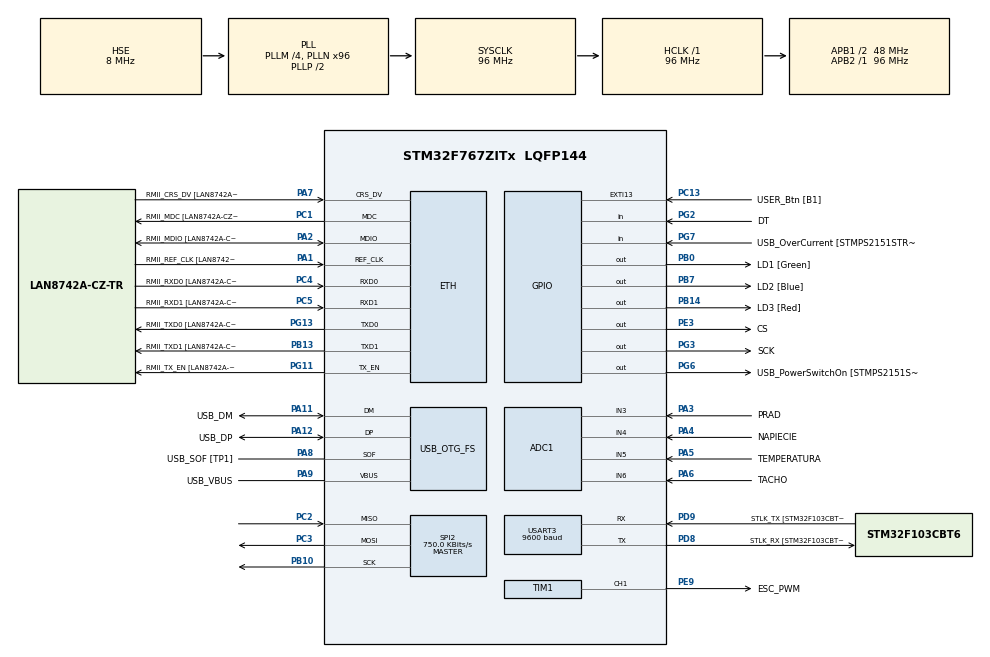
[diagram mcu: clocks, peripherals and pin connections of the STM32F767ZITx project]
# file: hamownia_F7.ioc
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ADC1.Channel-0\#ChannelRegularConversion=ADC_CHANNEL_3
ADC1.Channel-1\#ChannelRegularConversion=ADC_CHANNEL_4
ADC1.Channel-2\#ChannelRegularConversion=ADC_CHANNEL_5
ADC1.Channel-3\#ChannelRegularConversion=ADC_CHANNEL_6
ADC1.ContinuousConvMode=ENABLE
ADC1.DMAContinuousRequests=ENABLE
ADC1.NbrOfConversion=4
ADC1.NbrOfConversionFlag=1
ADC1.Rank-0\#ChannelRegularConversion=1
ADC1.Rank-1\#ChannelRegularConversion=2
ADC1.Rank-2\#ChannelRegularConversion=3
ADC1.Rank-3\#ChannelRegularConversion=4
ADC1.SamplingTime-0\#ChannelRegularConversion=ADC_SAMPLETIME_480CYCLES
ADC1.SamplingTime-1\#ChannelRegularConversion=ADC_SAMPLETIME_480CYCLES
ADC1.SamplingTime-2\#ChannelRegularConversion=ADC_SAMPLETIME_480CYCLES
ADC1.SamplingTime-3\#ChannelRegularConversion=ADC_SAMPLETIME_480CYCLES
ADC1.ScanConvMode=ADC_SCAN_ENABLE
ADC1.master=1
Dma.ADC1.0.Direction=DMA_PERIPH_TO_MEMORY
Dma.ADC1.0.FIFOMode=DMA_FIFOMODE_DISABLE
Dma.ADC1.0.Instance=DMA2_Stream0
Dma.ADC1.0.MemDataAlignment=DMA_MDATAALIGN_WORD
Dma.ADC1.0.MemInc=DMA_MINC_ENABLE
Dma.ADC1.0.Mode=DMA_CIRCULAR
Dma.ADC1.0.PeriphDataAlignment=DMA_PDATAALIGN_WORD
Dma.ADC1.0.PeriphInc=DMA_PINC_DISABLE
Dma.ADC1.0.Priority=DMA_PRIORITY_LOW
Dma.Request0=ADC1
ETH.MediaInterface=ETH_MEDIA_INTERFACE_RMII
ETH.PHY_Name=LAN8742A_PHY_ADDRESS
ETH.PHY_Value=0
ETH.PhyAddress=0
LWIP.GATEWAY_ADDRESS=192.168.008.050
LWIP.IP_ADDRESS=192.168.008.200
LWIP.LWIP_DHCP=0
LWIP.NETMASK_ADDRESS=255.255.255.000
LWIP.Version=v2.1.2_Cube
Mcu.Family=STM32F7
Mcu.Name=STM32F767ZITx
Mcu.Package=LQFP144
NVIC.DMA2_Stream0_IRQn=true\:0\:0\:false\:false\:true\:false\:true
NVIC.PriorityGroup=NVIC_PRIORITYGROUP_4
NVIC.TIM1_TRG_COM_TIM11_IRQn=true\:0\:0\:false\:false\:true\:true\:true
NVIC.TIM1_UP_TIM10_IRQn=true\:0\:0\:false\:false\:true\:true\:true
NVIC.TIM3_IRQn=true\:0\:0\:false\:false\:true\:true\:true
NVIC.TIM4_IRQn=true\:0\:0\:false\:false\:true\:true\:true
NVIC.TIM5_IRQn=true\:0\:0\:false\:false\:true\:true\:true
NVIC.TIM6_DAC_IRQn=true\:0\:0\:false\:false\:true\:true\:true
NVIC.TIM7_IRQn=true\:0\:0\:false\:false\:true\:true\:true
NVIC.TIM8_TRG_COM_TIM14_IRQn=true\:0\:0\:false\:false\:true\:true\:true
NVIC.TIM8_UP_TIM13_IRQn=true\:0\:0\:false\:false\:true\:true\:true
NVIC.USART3_IRQn=true\:0\:0\:false\:false\:true\:true\:true
PA1.GPIO_Label=RMII_REF_CLK [LAN8742A-CZ-TR_REFCLK0]
PA1.Mode=RMII
PA1.Signal=ETH_REF_CLK
PA10.GPIO_Label=USB_ID
PA10.Signal=USB_OTG_FS_ID
PA11.GPIO_Label=USB_DM
PA11.Mode=Device_Only
PA11.Signal=USB_OTG_FS_DM
PA12.GPIO_Label=USB_DP
PA12.Mode=Device_Only
PA12.Signal=USB_OTG_FS_DP
PA13.GPIO_Label=TMS
PA13.Mode=Serial_Wire
PA13.Signal=SYS_JTMS-SWDIO
PA14.GPIO_Label=TCK
PA14.Mode=Serial_Wire
PA14.Signal=SYS_JTCK-SWCLK
PA2.GPIO_Label=RMII_MDIO [LAN8742A-CZ-TR_MDIO]
PA2.Mode=RMII
PA2.Signal=ETH_MDIO
PA3.GPIO_Label=PRAD
PA3.Signal=ADCx_IN3
PA4.GPIO_Label=NAPIECIE
PA4.Signal=ADCx_IN4
PA5.GPIO_Label=TEMPERATURA
PA5.Signal=ADCx_IN5
PA6.GPIO_Label=TACHO
PA6.Signal=ADCx_IN6
PA7.GPIO_Label=RMII_CRS_DV [LAN8742A-CZ-TR_CRS_DV]
PA7.Mode=RMII
PA7.Signal=ETH_CRS_DV
PA8.GPIO_Label=USB_SOF [TP1]
PA8.Mode=Activate_SOF_FS
PA8.Signal=USB_OTG_FS_SOF
PA9.GPIO_Label=USB_VBUS
PA9.Mode=Activate_VBUS
PA9.Signal=USB_OTG_FS_VBUS
PB0.GPIO_Label=LD1 [Green]
PB0.Signal=GPIO_Output
PB10.Mode=Full_Duplex_Master
PB10.Signal=SPI2_SCK
PB13.GPIO_Label=RMII_TXD1 [LAN8742A-CZ-TR_TXD1]
PB13.Mode=RMII
PB13.Signal=ETH_TXD1
PB14.GPIO_Label=LD3 [Red]
PB14.Signal=GPIO_Output
PB3.GPIO_Label=SWO
PB3.Signal=SYS_JTDO-SWO
PB7.GPIO_Label=LD2 [Blue]
PB7.Signal=GPIO_Output
PC1.GPIO_Label=RMII_MDC [LAN8742A-CZ-TR_MDC]
PC1.Mode=RMII
PC1.Signal=ETH_MDC
PC13.GPIO_Label=USER_Btn [B1]
PC13.Signal=GPXTI13
PC14/OSC32_IN.Mode=LSE-External-Clock-Source
PC14/OSC32_IN.Signal=RCC_OSC32_IN
PC15/OSC32_OUT.Mode=LSE-External-Clock-Source
PC15/OSC32_OUT.Signal=RCC_OSC32_OUT
PC2.Mode=Full_Duplex_Master
PC2.Signal=SPI2_MISO
PC3.Mode=Full_Duplex_Master
PC3.Signal=SPI2_MOSI
PC4.GPIO_Label=RMII_RXD0 [LAN8742A-CZ-TR_RXD0]
PC4.Mode=RMII
PC4.Signal=ETH_RXD0
PC5.GPIO_Label=RMII_RXD1 [LAN8742A-CZ-TR_RXD1]
PC5.Mode=RMII
PC5.Signal=ETH_RXD1
PD8.GPIO_Label=STLK_RX [STM32F103CBT6_PA3]
PD8.Mode=Asynchronous
PD8.Signal=USART3_TX
PD9.GPIO_Label=STLK_TX [STM32F103CBT6_PA2]
PD9.Mode=Asynchronous
PD9.Signal=USART3_RX
PE3.GPIO_Label=CS
PE3.Signal=GPIO_Output
PE9.GPIO_Label=ESC_PWM
PE9.Signal=S_TIM1_CH1
PG11.GPIO_Label=RMII_TX_EN [LAN8742A-CZ-TR_TXEN]
PG11.Mode=RMII
PG11.Signal=ETH_TX_EN
PG13.GPIO_Label=RMII_TXD0 [LAN8742A-CZ-TR_TXD0]
PG13.Mode=RMII
PG13.Signal=ETH_TXD0
PG2.GPIO_Label=DT
PG2.Signal=GPIO_Input
PG3.GPIO_Label=SCK
PG3.PinState=GPIO_PIN_SET
PG3.Signal=GPIO_Output
PG6.GPIO_Label=USB_PowerSwitchOn [STMPS2151STR_EN]
PG6.Signal=GPIO_Output
PG7.GPIO_Label=USB_OverCurrent [STMPS2151STR_FAULT]
PG7.Signal=GPIO_Input
PH0/OSC_IN.GPIO_Label=MCO [STM32F103CBT6_PA8]
PH0/OSC_IN.Mode=HSE-External-Oscillator
PH0/OSC_IN.Signal=RCC_OSC_IN
PH1/OSC_OUT.Mode=HSE-External-Oscillator
PH1/OSC_OUT.Signal=RCC_OSC_OUT
ProjectManager.HeapSize=0x200
ProjectManager.StackSize=0x400
ProjectManager.TargetToolchain=STM32CubeIDE
RCC.48MHZClocksFreq_Value=24000000
RCC.AHBFreq_Value=96000000
RCC.APB1CLKDivider=RCC_HCLK_DIV2
RCC.APB1Freq_Value=48000000
RCC.APB1TimFreq_Value=96000000
RCC.APB2Freq_Value=96000000
RCC.APB2TimFreq_Value=96000000
RCC.CortexFreq_Value=96000000
RCC.HCLKFreq_Value=96000000
RCC.HSE_VALUE=8000000
RCC.HSI_VALUE=16000000
RCC.LSE_VALUE=32768
RCC.PLLM=4
RCC.PLLMUL=RCC_PLL_MUL9
RCC.PLLN=96
RCC.PLLQ=4
RCC.PRESCALERUSB=RCC_USBCLKSOURCE_PLL_DIV1_5
RCC.SYSCLKFreq_VALUE=96000000
RCC.SYSCLKSource=RCC_SYSCLKSOURCE_PLLCLK
RCC.SYSCLKSourceVirtual=RCC_SYSCLKSOURCE_PLLCLK
RCC.USBFreq_Value=48000000
RCC.VCOOutputFreq_Value=192000000
SH.ADCx_IN3.0=ADC1_IN3,IN3
SH.ADCx_IN4.0=ADC1_IN4,IN4
SH.ADCx_IN5.0=ADC1_IN5,IN5
SH.ADCx_IN6.0=ADC1_IN6,IN6
SH.S_TIM1_CH1.0=TIM1_CH1,PWM Generation1 CH1
SPI2.BaudRatePrescaler=SPI_BAUDRATEPRESCALER_64
SPI2.CLKPhase=SPI_PHASE_2EDGE
SPI2.CLKPolarity=SPI_POLARITY_HIGH
SPI2.CalculateBaudRate=750.0 KBits/s
SPI2.DataSize=SPI_DATASIZE_8BIT
SPI2.Direction=SPI_DIRECTION_2LINES
SPI2.Mode=SPI_MODE_MASTER
SPI2.VirtualType=VM_MASTER
TIM1.AutoReloadPreload=TIM_AUTORELOAD_PRELOAD_ENABLE
TIM1.Channel-PWM\ Generation1\ CH1=TIM_CHANNEL_1
TIM1.Period=9999
TIM1.Prescaler=191
TIM13.AutoReloadPreload=TIM_AUTORELOAD_PRELOAD_ENABLE
TIM13.Period=99
TIM13.Prescaler=159
TIM14.AutoReloadPreload=TIM_AUTORELOAD_PRELOAD_ENABLE
TIM14.Period=99
TIM14.Prescaler=239
TIM3.AutoReloadPreload=TIM_AUTORELOAD_PRELOAD_ENABLE
TIM3.Channel-Output\ Compare1\ No\ Output=TIM_CHANNEL_1
TIM3.Period=999
TIM3.Prescaler=9599
TIM4.AutoReloadPreload=TIM_AUTORELOAD_PRELOAD_ENABLE
TIM4.Channel-Output\ Compare1\ No\ Output=TIM_CHANNEL_1
TIM4.Period=199
TIM4.Prescaler=47
TIM5.AutoReloadPreload=TIM_AUTORELOAD_PRELOAD_ENABLE
TIM5.Period=99
TIM5.Prescaler=79
TIM6.AutoReloadPreload=TIM_AUTORELOAD_PRELOAD_ENABLE
TIM6.Period=99
TIM6.Prescaler=119
TIM7.AutoReloadPreload=TIM_AUTORELOAD_PRELOAD_DISABLE
TIM7.Period=0xffff-1
TIM7.Prescaler=95
USART3.BaudRate=9600
USART3.VirtualMode-Asynchronous=VM_ASYNC
USB_OTG_FS.VirtualMode=Device_Only
VP_LWIP_VS_Enabled.Mode=Enabled
VP_TIM13_VS_ClockSourceINT.Mode=Enable_Timer
VP_TIM14_VS_ClockSourceINT.Mode=Enable_Timer
VP_TIM3_VS_no_output1.Mode=Output Compare1 No Output
VP_TIM4_VS_no_output1.Mode=Output Compare1 No Output
VP_TIM5_VS_ClockSourceINT.Mode=Internal
VP_TIM6_VS_ClockSourceINT.Mode=Enable_Timer
VP_TIM7_VS_ClockSourceINT.Mode=Enable_Timer
board=NUCLEO-F767ZI

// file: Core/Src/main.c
/* USER CODE BEGIN Header */
/**
  ******************************************************************************
  * @file           : main.c
  * @brief          : Main program body
  ******************************************************************************
  * @attention
  *
  * <h2><center>&copy; Copyright (c) 2020 STMicroelectronics.
  * All rights reserved.</center></h2>
  *
  * This software component is licensed by ST under BSD 3-Clause license,
  * the "License"; You may not use this file except in compliance with the
  * License. You may obtain a copy of the License at:
  *                        opensource.org/licenses/BSD-3-Clause
  *
  ******************************************************************************
  */
/* USER CODE END Header */

#include "main.h"
#include "adc.h"
#include "dma.h"
#include "lwip.h"
#include "spi.h"
#include "tim.h"
#include "usart.h"
#include "usb_otg.h"
#include "gpio.h"

/* USER CODE BEGIN Includes */
#include "hx711.h"
#include <stdio.h>
#include <string.h>
#include "arm_math.h"
#include "stm32_udp_server.h"
#define belka 100 // czas pomiaru dla belki
#define startup 1500 // czas rozruchu

/* USER CODE END Includes */

/* USER CODE BEGIN PTD */
HX711 tensometr; // wskaźnik do hx711
arm_rfft_instance_f32 S;
arm_cfft_radix4_instance_f32 S_CFFT;
/* USER CODE END PTD */

/* USER CODE BEGIN PV */

float32_t bufor_wejsciowy_pradu[2048];
float32_t bufor_wyjsciowy_pradu[4096];
float32_t bufor_wyjsciowy_pradu_mag[2048];
float32_t buffer_output_mag_copy[1024];

float32_t maxvalue;
uint32_t  maxvalueindex;

float32_t bufor_wejsciowy_osx[2048];
float32_t bufor_wyjsciowy_osx[4096];
float32_t bufor_wyjsciowy_osx_mag[2048];
float32_t buffer_output_mag_copy1[1024];

float32_t maxvalue1;
uint32_t  maxvalueindex1;

float32_t bufor_wejsciowy_osy[2048];
float32_t bufor_wyjsciowy_osy[4096];
float32_t bufor_wyjsciowy_osy_mag[2048];
float32_t buffer_output_mag_copy2[1024];

float32_t maxvalue2;
uint32_t  maxvalueindex2;

float32_t bufor_wejsciowy_osz[2048];
float32_t bufor_wyjsciowy_osz[4096];
float32_t bufor_wyjsciowy_osz_mag[2048];
float32_t buffer_output_mag_copy3[1024];

float32_t maxvalue3;
uint32_t  maxvalueindex3;

float32_t bufor_wejsciowy_napiecia[2048];
float32_t bufor_wyjsciowy_napiecia[4096];
float32_t bufor_wyjsciowy_napiecia_mag[2048];
float32_t buffer_output_mag_copy4[1024];

float32_t maxvalue4;
uint32_t  maxvalueindex4;

float32_t bufor_pradu[512];
float32_t bufor_napiecia[512];
float32_t bufor_temp[512];
float32_t bufor_ax[512];
float32_t bufor_ay[512];
float32_t bufor_az[512];
uint32_t bufor_rpm[512];
uint32_t bufor_ciag[512];
uint16_t bufor_czasu[512];

float32_t bufor_pradu1[512];
float32_t bufor_napiecia1[512];
float32_t bufor_temp1[512];
float32_t bufor_ax1[512];
float32_t bufor_ay1[512];
float32_t bufor_az1[512];
uint32_t bufor_rpm1[512];
uint32_t bufor_ciag1[512];
uint16_t bufor_czasu1[512];

int j = 0,k=0;
float napiecie =0, temp = 0, prad = 0, suma_napiec=0, napiecie_przed = 0, napiecie_fft = 0, suma_temp = 0, temp_przed = 0, temp_chw =0, suma_pradow = 0, prad_przed = 0, prad_fft = 0;
float Ax, Ay, Az;
float pojedynczy_fft_osx, pojedynczy_fft_osy, pojedynczy_fft_osz, pojedynczy_fft_prad, pojedynczy_fft_napiecie, prad1, napiecie1, prad2, napiecie2;
float ax1,ay1,az1,temp1;
float ax2,ay2,az2,temp2;
uint32_t rpm1,ciag1;
uint32_t rpm2,ciag2;
int16_t x,y,z,czas1,czas2;
uint8_t dane_odebrane[6];
uint32_t status=0,status2, rpm = 0, licznik=0, pomiary_napiecia =0, pomiary_temp = 0, pomiary_pradu = 0;
uint32_t czas=0, odczyt_belki=0, ciag=0, tara=0;
uint32_t pwm = 550,nastawa;
uint8_t inicjalizacja = 0, wyslij = 0,wyslij_dane=0;
uint32_t start,dane;
uint8_t komunikat[80],test_pol[3]="OK ",koniec[4]="END ", wiadomosc[100], wiadomosc2[100];
uint32_t poprzedni_czas_belka;
uint32_t poprzedni_czas_startup;
uint32_t tachometr_czas;
uint32_t wysylanie_czas;
uint32_t analogowe[4]; // tablica dla odczytu z czujnika temperatury i napięcia

uint8_t procent,rampa,start_sampli = 0;
uint16_t t=1,czas_testu;
uint32_t czas_probki=8;
uint8_t nr_trybu,gotowosc,wykonywanie_fft=1,timer_probkowania,zmiana_bufora,timer=1;
uint16_t ilosc_probek,ilosc_danych,licznik_samplowania,counter=0,zerowanie_timera;

uint8_t   buffer[UDP_RECEIVE_MSG_SIZE]={0};
UDP_RECEIVE_t  rx_check = UDP_REVEICE_BUF_EMPTY;
uint32_t    aliveNotify = 0;

/* USER CODE END PV */

void SystemClock_Config(void);

/* USER CODE BEGIN 0 */
void adxl_zapisz (uint8_t adres, uint8_t wartosc)
{
	uint8_t data[2];
	data[0] = adres|0x40;  // zapis wielobajtowy
	data[1] = wartosc;
	HAL_GPIO_WritePin (CS_GPIO_Port, CS_Pin, GPIO_PIN_RESET);  // ustawienie pinu CS w stan niski
	HAL_SPI_Transmit (&hspi2, data, 2, 100);  // zapisanie danych do rejestru
	HAL_GPIO_WritePin (CS_GPIO_Port, CS_Pin, GPIO_PIN_SET);  // ustawienie pinu CS w stan wysoki
}
void adxl_odczyt (uint8_t adres)
{
	adres |= 0x80;  // operacja odczytu
	adres |= 0x40;  // odczyt wielobajtowy
	uint8_t rec;
	HAL_GPIO_WritePin (CS_GPIO_Port, CS_Pin, GPIO_PIN_RESET);  // ustawienie pinu CS w stan niski
	HAL_SPI_Transmit (&hspi2, &adres, 1, 100);  // wysylanie na adres
	HAL_SPI_Receive (&hspi2, dane_odebrane, 6, 100);  // otrzymanie 6-ciu bajtow danych
	HAL_GPIO_WritePin (CS_GPIO_Port, CS_Pin, GPIO_PIN_SET);  // ustawienie pinu CS w stan wysoki
}
void adxl_inicjalizacja (void)
{
	adxl_zapisz (0x31, 0x0B);  // zakres pomiarowy = +- 16g na pelnej rodzielczosci 10 bit
	adxl_zapisz (0x2c, 0x0F);  // usawienie czestotliwosci wysylania danych na poziomie 3200Hz
	adxl_zapisz (0x2d, 0x00);  // resetowanie rejestru
	adxl_zapisz (0x2d, 0x08);  // odczyt z czestotliwoscia 8Hz w trybie sleep
}
void adxl_odczyt_wartosci()
{
	adxl_odczyt (0x32);
	x = ((dane_odebrane[1]<<8)|dane_odebrane[0]);
	y = ((dane_odebrane[3]<<8)|dane_odebrane[2]);
	z = ((dane_odebrane[5]<<8)|dane_odebrane[4]);

}
void przeliczanie_akcelerometru()
{
	Ax = x*0.0039;
	Ay = y*0.0039;
	Az = z*0.0039;
}

void inicjalizacja_belki()
{
	odczyt_belki = HX711_odczyt(&tensometr); // odczyt z przetwornika HX711
	tara = odczyt_belki;
	odczyt_belki =0;
}
void odczyt_ciagu()
{
	odczyt_belki = HX711_odczyt(&tensometr);  // odczyt z przetwornika HX711
	ciag = (odczyt_belki-tara)/1000; // przeliczenie na gramy
	if(ciag>900)
	{
		ciag=0;
	}
}

void inicjalizacja_silnika() // funkcja inicjalizacji silnika
{
	  if(HAL_GetTick() - poprzedni_czas_startup > startup) //sprawdzenie czy upłynał już czas startup = 1500ms
	  {
	      poprzedni_czas_startup = HAL_GetTick();   // pobranie aktualnego czasu
	      __HAL_TIM_SET_COMPARE(&htim1, TIM_CHANNEL_1,500); //ustawienie timera 17 na wypelnienie 5% (min) dzieki czemu regulator esc zostaje zainicjalizowany
	  }
}
void test_silnika_fft()
{

	if(gotowosc==0)
	{
	czas_zadany();
	predkosc_zadana();
	rampa_zadana();
	rozmiar_fft();
	czestotliwosc_probkowania();

	arm_rfft_init_f32(&S, &S_CFFT, ilosc_probek, 0, 1);

	dezaktywacja_timerow();

	gotowosc=1;
	timer_probkowania=1;
	}

	   __HAL_TIM_SET_COMPARE(&htim1, TIM_CHANNEL_1,pwm); // załączenie pwm o zmiennym wypelnieniu inkrementowanym w obsłudze przerwania od timera 1

    if(HAL_GetTick() - poprzedni_czas_belka > belka)  // sprawdzenie czy upłynął już czas belka = 100ms
    {
	    poprzedni_czas_belka = HAL_GetTick();  // pobranie aktualnego czasu

	    odczyt_ciagu();

		if(czas==czas_testu)  // sprawdzenie czy czas testu minął
		{

			start=0;  // ustawienie końcowe zmiennych
			czas=0;
			gotowosc=0;
			timer_probkowania=0;
			timer=1;
			serverUDPSendString(koniec);

		}

  }

}
void test_silnika() // funkcja automatycznego testu silnika
{
	czas_zadany();
	predkosc_zadana();
	rampa_zadana();
	licznik_samplowania = 4;
	if(timer==1)
	{
		if(licznik_samplowania==4)
		{
			HAL_TIM_Base_Start(&htim14);
			HAL_TIM_Base_Start_IT(&htim14);
			HAL_TIM_Base_Stop(&htim5);
			HAL_TIM_Base_Stop_IT(&htim5);
			HAL_TIM_Base_Stop(&htim6);
			HAL_TIM_Base_Stop_IT(&htim6);
			HAL_TIM_Base_Stop(&htim13);
			HAL_TIM_Base_Stop_IT(&htim13);
		}
		timer=0;
	}
	timer_probkowania=1;

	   __HAL_TIM_SET_COMPARE(&htim1, TIM_CHANNEL_1,pwm); // załączenie pwm o zmiennym wypelnieniu inkrementowanym w obsłudze przerwania od timera 1

       if(HAL_GetTick() - poprzedni_czas_belka > belka)  // sprawdzenie czy upłynął już czas belka = 100ms
       {
	    poprzedni_czas_belka = HAL_GetTick();  // pobranie aktualnego czasu

	    odczyt_ciagu();

		if(czas==czas_testu)  // sprawdzenie czy czas testu minął
		{

			start=0;  // ustawienie końcowe zmiennych
			czas=0;
			timer_probkowania=0;
			timer=1;
			serverUDPSendString(koniec);

		}

     }

}

void tryb_reczny() // funkcja ręcznego załączania silnika
{

	      predkosc_zadana();
	      licznik_samplowania = 4;
	  	if(timer==1)
	  	{
	  		if(licznik_samplowania==4)
	  		{
				HAL_TIM_Base_Start(&htim14);
				HAL_TIM_Base_Start_IT(&htim14);
				HAL_TIM_Base_Stop(&htim5);
				HAL_TIM_Base_Stop_IT(&htim5);
				HAL_TIM_Base_Stop(&htim6);
				HAL_TIM_Base_Stop_IT(&htim6);
				HAL_TIM_Base_Stop(&htim13);
				HAL_TIM_Base_Stop_IT(&htim13);
	  		}
	  		timer=0;
	  	}
	      timer_probkowania=1;

		__HAL_TIM_SET_COMPARE(&htim1, TIM_CHANNEL_1,nastawa); // ustawienie timera na odpowiednie wypełnienie pwm

	       if(HAL_GetTick() - poprzedni_czas_belka > belka) // sprawdzenie czy upłynął już czas belka = 100ms
	       {
		    poprzedni_czas_belka = HAL_GetTick();     // pobranie aktualnego czasu

		    HAL_GPIO_TogglePin(GPIOB, LD2_Pin); // zmiana stanu diody led na płytce

			odczyt_ciagu();

	       }

}

void akwizycja_danych()
{
	czas_zadany();
	predkosc_zadana();
	rampa_zadana();
	czestotliwosc_probkowania();

	dezaktywacja_timerow();

	timer_probkowania=1;

	   __HAL_TIM_SET_COMPARE(&htim1, TIM_CHANNEL_1,pwm); // załączenie pwm o zmiennym wypelnieniu inkrementowanym w obsłudze przerwania od timera 1

       if(HAL_GetTick() - poprzedni_czas_belka > belka)  // sprawdzenie czy upłynął już czas belka = 100ms
       {
	    poprzedni_czas_belka = HAL_GetTick();  // pobranie aktualnego czasu

	    odczyt_ciagu();

		if(czas==czas_testu)  // sprawdzenie czy czas testu minął
		{

			start=0;  // ustawienie końcowe zmiennych
			czas=0;
			timer_probkowania=0;
			licznik_samplowania=0;
			timer=1;
			serverUDPSendString(koniec);

		}

     }
}

void odczyt_wartosci_anlg()  // funkcja odczytu wartosci analogowych z tablicy i ustawienie stanu (wykrywanie znacznika na rotorze)
{
	  if(analogowe[3]<1500)
	  {
	  status=1;
	  }
	  if(analogowe[3]>1500)
	  {
	  status=0;
	  }
	  if(status2!=status) // zabezpieczenie przed nagłą zmiana oświetlenia w otoczeniu i zmiana stanu
	  {
		  licznik++;
		  status2=status;
	  }
}
void pomiar_napiecia()  // funkcja pomiaru napiecia zasilania z dzielnika napięcia
{
	napiecie_przed = analogowe[1]*3.3f / 4096.0f; // przeliczanie wartosci analogowej
	napiecie_przed = napiecie_przed*1000;  // zamiana na mV
	napiecie_przed = napiecie_przed/165; // skalowanie napięcia wg. współczynnika wyliczonego z dzielnika napięcia
	napiecie_fft = napiecie_przed;
	suma_napiec += napiecie_przed; // sumowanie odczytów
	pomiary_napiecia++; // inkrementacja licznika ilości odczytów

	if(pomiary_napiecia == 200)
	{
		napiecie = suma_napiec/200; // wyliczanie śreniej z 200 pomiarów
		pomiary_napiecia = 0;  // końcowe ustawienie zmiennych
		suma_napiec = 0;

	}
}
void pomiar_temperatury()  // pomiar temperatury z analogowego czujnika LM35
{
	temp_przed = analogowe[2]*3.3f / 4096.0f; //przeliczanie wartości analogowej
	temp_przed = temp_przed*1000; // zamiana na mV
	temp_przed = temp_przed/10; // zamiana na stopnie Celsjusza wynikająca z noty katalogowej (1 st. C = 10mV)
	temp_chw = temp_przed;
	suma_temp += temp_przed; // sumowanie odczytów
	pomiary_temp++; // inkrementacja licznika ilości odczytów

	if(pomiary_temp == 200)
	{
		temp = suma_temp/200; // wyliczanie średniej z 200 pomiarów
		pomiary_temp = 0; // końcowe ustawienie zmiennych
		suma_temp = 0;
	}
}

void pomiar_pradu()
{
	prad_przed = analogowe[0]*3.3f / 4096.0f; //przeliczanie wartości analogowej
	prad_przed = prad_przed*1000; // zamiana na mV
	prad_przed = (73.3f*(prad_przed/3300))-36.7f; // zamiana na A wg. wzoru producenta
	prad_fft = prad_przed;
	suma_pradow += prad_przed; // sumowanie odczytów
	pomiary_pradu++; // inkrementacja licznika ilości odczytów

	if(pomiary_pradu == 200)
	{
		prad = suma_pradow/200; // wyliczanie średniej z 200 pomiarów
		pomiary_pradu = 0; // końcowe ustawienie zmiennych
		suma_pradow = 0;
	}
}
void tachometr() // funkcja pomiaru prędkości obrotowej
{
    if(HAL_GetTick()-tachometr_czas >= 500) // odmierzenie czasu 500ms poniewaz co tyle jest mierzona prędkośc
    {

    	rpm =((licznik)/((HAL_GetTick()-tachometr_czas)/500))*60; // obliczenie ilości obrotów na podtawie impulsów zliczonych w interwałach 500ms

    	licznik = 0; // zerowanie liocznika
	    tachometr_czas = HAL_GetTick(); // pobranie aktualnego czasu
    }
}
void odbior_danych()
{
  	rx_check = serverUDPWorks(buffer);

      if(rx_check == UDP_RECEIVE_BUF_READY)
      {
          if(buffer[0] == '0')
          {
          	start=0;
          }

          if(buffer[0] == '1')
          {
            start=1;

          }
          if(buffer[0] == '2')
          {
          	start=2;
          }

          if(buffer[0] == '3')
          {

        	start=3;

          }
          if(buffer[0] == '4')
          {
            start=4;

          }
          if(buffer[0] == '5')
          {
        	  start=5;

          }
          if(buffer[0] == '6')
          {
        	  dane=6;
          }

      }
}
void transmisja_danych() // funkcja wysyłania danych za pomocą UART
{

	czas_probki=__HAL_TIM_GET_COUNTER(&htim7);
	czas_probki=czas_probki+65535;
    sprintf(komunikat, "%0.2f %0.2f %d %0.2f %d %d       ", prad,napiecie,rpm,temp,ciag,czas_probki);
	serverUDPSendString(komunikat);
	__HAL_TIM_SET_COUNTER (&htim7,0);

}

void test_polaczenia()
{
	serverUDPSendString(test_pol);
	start=0;
}
void stop()
{
		__HAL_TIM_SET_COMPARE(&htim1, TIM_CHANNEL_1,500); // wyłączenie silnika
		start=0;
		czas=0;
		timer_probkowania=0;
		timer=1;
		pwm=550;
}
void predkosc_zadana()
{
	int a,b;
	a=buffer[2]; //odczytanie zmiennej z bufora
	b=buffer[3]; //odczytanie zmiennej z bufora
	a=a-48; //zmiana z ascii na char
	b=b-48; //zmiana z ascii na char
	procent = (a*10)+b; //zamiana na wartosc procentowa
	nastawa = (procent * 5)+500; // przeskalowanie zmiennej dla wypelnienia pwm
}

void czas_zadany()
{
	int c,d;
	c=buffer[5]; //odczytanie zmiennej z bufora
	d=buffer[6]; //odczytanie zmiennej z bufora
	c=c-48; //zmiana z ascii na char
	d=d-48; //zmiana z ascii na char
	czas_testu = ((c*10)+d)*10; //obliczenie czasu testu w s
}

void rampa_zadana()
{
	int e,f;
	e=buffer[8]; //odczytanie zmiennej z bufora
	f=buffer[9]; //odczytanie zmiennej z bufora
	e=e-48; //zmiana z ascii na char
	f=f-48; //zmiana z ascii na char
	rampa = (e*10)+f; //obliczanie rampy (stopnia inkrementu o ktory ma byc zwiekszane wypelnienie pwm)
}

void rozmiar_fft()
{
	int g;
	g=buffer[13];
	g=g-48;
	if(g==1)
	{
		ilosc_probek = 512;
		ilosc_danych = 256;

	}
	if(g==2)
	{
		ilosc_probek = 2048;
		ilosc_danych = 1024;

	}

}

void czestotliwosc_probkowania()
{
	int h;
	h=buffer[11];
	h=h-48;
	if(h==1)
	{
		licznik_samplowania = 4;
	}
	if(h==2)
	{
		licznik_samplowania = 6;
	}
	if(h==3)
	{
		licznik_samplowania = 8;
	}
	if(h==4)
	{
		licznik_samplowania = 12;
	}

}

void odmierzanie_czasu_testu()
{
	if(start==1||start==4||start==5)
	{

      if(czas<czas_testu) // sprawdzenie czy czas testu minął
       {
       czas++; // inkrementacja czasu
       }
	}
}

void dezaktywacja_timerow()
{
	if(timer==1)
	{
		if(licznik_samplowania==4)
		{
			HAL_TIM_Base_Start(&htim14);
			HAL_TIM_Base_Start_IT(&htim14);
			HAL_TIM_Base_Stop(&htim5);
			HAL_TIM_Base_Stop_IT(&htim5);
			HAL_TIM_Base_Stop(&htim6);
			HAL_TIM_Base_Stop_IT(&htim6);
			HAL_TIM_Base_Stop(&htim13);
			HAL_TIM_Base_Stop_IT(&htim13);

		}

		if(licznik_samplowania==6)
		{
			HAL_TIM_Base_Start(&htim13);
			HAL_TIM_Base_Start_IT(&htim13);
			HAL_TIM_Base_Stop(&htim5);
			HAL_TIM_Base_Stop_IT(&htim5);
			HAL_TIM_Base_Stop(&htim6);
			HAL_TIM_Base_Stop_IT(&htim6);
			HAL_TIM_Base_Stop(&htim14);
			HAL_TIM_Base_Stop_IT(&htim14);

		}

		if(licznik_samplowania==8)
		{

			HAL_TIM_Base_Start(&htim6);
			HAL_TIM_Base_Start_IT(&htim6);
			HAL_TIM_Base_Stop(&htim5);
			HAL_TIM_Base_Stop_IT(&htim5);
			HAL_TIM_Base_Stop(&htim13);
			HAL_TIM_Base_Stop_IT(&htim13);
			HAL_TIM_Base_Stop(&htim14);
			HAL_TIM_Base_Stop_IT(&htim14);

		}

		if(licznik_samplowania==12)
		{
			HAL_TIM_Base_Start(&htim5);
			HAL_TIM_Base_Start_IT(&htim5);
			HAL_TIM_Base_Stop(&htim6);
			HAL_TIM_Base_Stop_IT(&htim6);
			HAL_TIM_Base_Stop(&htim13);
			HAL_TIM_Base_Stop_IT(&htim13);
			HAL_TIM_Base_Stop(&htim14);
			HAL_TIM_Base_Stop_IT(&htim14);

		}

		timer=0;
	}
}
void probkowanie()
{

	odbior_danych();
	pomiar_pradu();
	pomiar_napiecia();
	przeliczanie_akcelerometru();
	tachometr(); // pomiar predkosci obrotowej
	odczyt_wartosci_anlg(); //odczytywanie wartosci analogowej z czujnika prędkości i zamiana na stan niski lub wysoki
	pomiar_temperatury();// pomiar temperatury silnika

	if(start==5)
	{

	if(j<512)
	{
		if(zmiana_bufora==0)
		{

		bufor_pradu[j]=prad_fft;
		bufor_napiecia[j]=napiecie_fft;
		bufor_ax[j]=Ax;
		bufor_ay[j]=Ay;
		bufor_az[j]=Az;
		bufor_rpm[j]=rpm;
		bufor_ciag[j]=ciag;
		bufor_temp[j]=temp;

		czas_probki=__HAL_TIM_GET_COUNTER(&htim7);
		bufor_czasu[j]=czas_probki;
		__HAL_TIM_SET_COUNTER (&htim7,0);
		j++;
		}

	}

	if(j==512)
	{

		if(zmiana_bufora==0)
		{
			wyslij_dane = 1;

			zmiana_bufora=1;
		}

		j=0;

	}
	if(k<512)
	{

	if(zmiana_bufora==1)
	{

	bufor_pradu1[k]=prad_fft;
	bufor_napiecia1[k]=napiecie_fft;
	bufor_ax1[k]=Ax;
	bufor_ay1[k]=Ay;
	bufor_az1[k]=Az;
	bufor_rpm1[k]=rpm;
	bufor_ciag1[k]=ciag;
	bufor_temp1[k]=temp;

	czas_probki=__HAL_TIM_GET_COUNTER(&htim7);
	bufor_czasu1[k]=czas_probki;
	__HAL_TIM_SET_COUNTER (&htim7,0);
	k++;
	}
	}

	if(k==512)
	{
		if(zmiana_bufora==1)
		{
			wyslij_dane = 2;
			zmiana_bufora=0;

		}
		k=0;

	}

	}

if(start==4&&gotowosc==1)
{
if(j<ilosc_probek)
{

	pomiar_pradu();
	bufor_wejsciowy_pradu[j]=prad_fft;
	pomiar_napiecia();
	bufor_wejsciowy_napiecia[j]=napiecie_fft;
	przeliczanie_akcelerometru();
	bufor_wejsciowy_osx[j]=Ax;
	bufor_wejsciowy_osy[j]=Ay;
	bufor_wejsciowy_osz[j]=Az;

}
j++;
if(j==ilosc_probek&&wykonywanie_fft==1)
{

	  arm_rfft_f32(&S, bufor_wejsciowy_osx, bufor_wyjsciowy_osx);

	  arm_cmplx_mag_f32(bufor_wyjsciowy_osx, bufor_wyjsciowy_osx_mag, ilosc_probek);

	  arm_max_f32(bufor_wyjsciowy_osx_mag, ilosc_probek, &maxvalue1, &maxvalueindex1);

	  for(int i=0; i<ilosc_probek; ++i){
	  	bufor_wyjsciowy_osx_mag[i] = 100*bufor_wyjsciowy_osx_mag[i]/maxvalue1;
	  }

	  arm_rfft_f32(&S, bufor_wejsciowy_osy, bufor_wyjsciowy_osy);

	  arm_cmplx_mag_f32(bufor_wyjsciowy_osy, bufor_wyjsciowy_osy_mag, ilosc_probek);

	  arm_max_f32(bufor_wyjsciowy_osy_mag, ilosc_probek, &maxvalue2, &maxvalueindex2);

	  for(int i=0; i<ilosc_probek; ++i){
	  	bufor_wyjsciowy_osy_mag[i] = 100*bufor_wyjsciowy_osy_mag[i]/maxvalue2;
	  }

	  arm_rfft_f32(&S, bufor_wejsciowy_osz, bufor_wyjsciowy_osz);

	  arm_cmplx_mag_f32(bufor_wyjsciowy_osz, bufor_wyjsciowy_osz_mag, ilosc_probek);

	  arm_max_f32(bufor_wyjsciowy_osz_mag, ilosc_probek, &maxvalue3, &maxvalueindex3);

	  for(int i=0; i<ilosc_probek; ++i){
	  	bufor_wyjsciowy_osz_mag[i] = 100*bufor_wyjsciowy_osz_mag[i]/maxvalue3;
	  }

	  arm_rfft_f32(&S, bufor_wejsciowy_pradu, bufor_wyjsciowy_pradu);

	  arm_cmplx_mag_f32(bufor_wyjsciowy_pradu, bufor_wyjsciowy_pradu_mag, ilosc_probek);

	  arm_max_f32(bufor_wyjsciowy_pradu_mag, ilosc_probek, &maxvalue, &maxvalueindex);

	  for(int i=0; i<ilosc_probek; ++i){
	  	bufor_wyjsciowy_pradu_mag[i] = 100*bufor_wyjsciowy_pradu_mag[i]/maxvalue;
	  }

	  arm_rfft_f32(&S, bufor_wejsciowy_napiecia, bufor_wyjsciowy_napiecia);

	  arm_cmplx_mag_f32(bufor_wyjsciowy_napiecia, bufor_wyjsciowy_napiecia_mag, ilosc_probek);

	  arm_max_f32(bufor_wyjsciowy_napiecia_mag, ilosc_probek, &maxvalue4, &maxvalueindex4);

	  for(int i=0; i<ilosc_probek; ++i){
	  	bufor_wyjsciowy_napiecia_mag[i] = 100*bufor_wyjsciowy_napiecia_mag[i]/maxvalue4;
	  }

	  wyslij = 1;
	  wykonywanie_fft=0;

	j=0;
}

tachometr(); // pomiar predkosci obrotowej
odczyt_wartosci_anlg(); //odczytywanie wartosci analogowej z czujnika prędkości i zamiana na stan niski lub wysoki
pomiar_temperatury();// pomiar temperatury silnika
}
}
/*
void pomiar_okresu_probkowania()
{
	if(start==1)
	{
	__HAL_TIM_SET_COUNTER (&htim13, 0);
	if(__HAL_TIM_GET_COUNTER(&htim13)==95)
	{
		czas_probki++;
	}
	}
}
*/
/* USER CODE END 0 */

int main(void)
{
  /* USER CODE BEGIN 1 */
	tensometr.SCK_PORT=GPIOG;  // przypisanie portu c do zmiennej w funkcji belki tensometrycznej
	tensometr.SCK_numer_pinu=SCK_Pin; // przypisanie pinu 1 do zmiennej w funkcji belki tensometrycznej jako wyjscie zegara na hx711
	tensometr.DATA_PORT=GPIOG; // przypisanie portu c do zmiennej w funkcji belki tensometrycznej
	tensometr.DATA_numer_pinu=DT_Pin; // przypisanie pinu 0 do zmiennej w funkcji belki tensometrycznej jako wejscie danych od hx711
	tensometr.tryb=0;
	tensometr.skaluj = 1.f;
  /* USER CODE END 1 */

  /* MCU Configuration--------------------------------------------------------*/

  /* Reset of all peripherals, Initializes the Flash interface and the Systick. */
  HAL_Init();

  /* Configure the system clock */
  SystemClock_Config();

  /* Initialize all configured peripherals */
  MX_GPIO_Init();
  MX_DMA_Init();
  MX_USART3_UART_Init();
  MX_USB_OTG_FS_PCD_Init();
  MX_ADC1_Init();
  MX_SPI2_Init();
  MX_TIM1_Init();
  MX_TIM3_Init();
  MX_TIM4_Init();
  MX_LWIP_Init();
  MX_TIM7_Init();
  MX_TIM5_Init();
  MX_TIM6_Init();
  MX_TIM14_Init();
  MX_TIM13_Init();
  /* USER CODE BEGIN 2 */
//  arm_rfft_init_f32(&S, &S_CFFT, 4096, 0, 1);

  // MPU6050_Init();
   adxl_inicjalizacja();

   HAL_TIM_Base_Start_IT(&htim3);  // start przerwań od timera 3
   HAL_TIM_Base_Start_IT(&htim4);  // start przerwań od timera 4
   HAL_TIM_Base_Start_IT(&htim5);
   HAL_TIM_Base_Start_IT(&htim6);  // start przerwań od timera 7
   HAL_TIM_Base_Start_IT(&htim7);
   HAL_TIM_Base_Start_IT(&htim13);
   HAL_TIM_Base_Start_IT(&htim14);  // start przerwań od timera 14
 //  HAL_TIM_OC_Start_IT(&htim2, TIM_CHANNEL_1);

   HAL_TIM_PWM_Start(&htim1, TIM_CHANNEL_1); // start pwm od timera 1
//   __HAL_TIM_ENABLE_IT(&htim14, TIM_IT_CC1);

   HAL_ADC_Start_DMA(&hadc1,analogowe,4); // start DMA i zapis do tablicy analogowe

   poprzedni_czas_belka = HAL_GetTick(); //przejęcie czasu systemowego do zmiennej poprzedni_czas_belka
   poprzedni_czas_startup = HAL_GetTick(); // przejęcie czasu systemowego do zmiennej poprzedni_czas_startup
   tachometr_czas = HAL_GetTick();   // przejęcie czasu systemowego do zmiennej tachometr_czas
   wysylanie_czas = HAL_GetTick();

   serverUDPInit();
   serverUDPStart();

   extern struct netif gnetif;

   inicjalizacja_belki();

  /* USER CODE END 2 */

  /* Infinite loop */
  /* USER CODE BEGIN WHILE */
  while (1)
   {
 	  do {                        // petla wykonujaca sie raz aby zainicjalizowac silnik

 		  inicjalizacja_silnika(); //funkcja inicjalizacji silnika
 		  inicjalizacja = 1;

 	  }
 	  while(inicjalizacja ==0);

 	  adxl_odczyt_wartosci(); //odczyt z akcelerometru
 	  odbior_danych(); //sprawdzenie odebranych danych

 	  if(start==0)
 	 	{
 		  stop(); //zatrzymanie silnika
 	 	}

 	  if(start==1)
 	  {
 		  test_silnika(); //funkcja testu automatycznego silnika
 	  }

 	  if(start==2)
 	  {
 		  test_polaczenia(); //funkcja testu automatycznego silnika
 	  }

 	  if(start==3)
 	  {
 		  tryb_reczny(); //funkcja reczna załączania silnika
 	  }

 	  if(start==4)
 	  {
 		  test_silnika_fft(); //funkcja analizy fft sygnalow

 	  }

 	  if(start==5)
 	  {
 		  akwizycja_danych(); //funkcja akwizycji danych

 	  }

    /* USER CODE END WHILE */

  }
}

void SystemClock_Config(void)
{
  RCC_OscInitTypeDef RCC_OscInitStruct = {0};
  RCC_ClkInitTypeDef RCC_ClkInitStruct = {0};
  RCC_PeriphCLKInitTypeDef PeriphClkInitStruct = {0};

  /** Configure the main internal regulator output voltage
  */
  __HAL_RCC_PWR_CLK_ENABLE();
  __HAL_PWR_VOLTAGESCALING_CONFIG(PWR_REGULATOR_VOLTAGE_SCALE3);
  /** Initializes the CPU, AHB and APB busses clocks
  */
  RCC_OscInitStruct.OscillatorType = RCC_OSCILLATORTYPE_HSE;
  RCC_OscInitStruct.HSEState = RCC_HSE_ON;
  RCC_OscInitStruct.PLL.PLLState = RCC_PLL_ON;
  RCC_OscInitStruct.PLL.PLLSource = RCC_PLLSOURCE_HSE;
  RCC_OscInitStruct.PLL.PLLM = 4;
  RCC_OscInitStruct.PLL.PLLN = 96;
  RCC_OscInitStruct.PLL.PLLP = RCC_PLLP_DIV2;
  RCC_OscInitStruct.PLL.PLLQ = 4;
  if (HAL_RCC_OscConfig(&RCC_OscInitStruct) != HAL_OK)
  {
    Error_Handler();
  }
  /** Activate the Over-Drive mode
  */
  if (HAL_PWREx_EnableOverDrive() != HAL_OK)
  {
    Error_Handler();
  }
  /** Initializes the CPU, AHB and APB busses clocks
  */
  RCC_ClkInitStruct.ClockType = RCC_CLOCKTYPE_HCLK|RCC_CLOCKTYPE_SYSCLK
                              |RCC_CLOCKTYPE_PCLK1|RCC_CLOCKTYPE_PCLK2;
  RCC_ClkInitStruct.SYSCLKSource = RCC_SYSCLKSOURCE_PLLCLK;
  RCC_ClkInitStruct.AHBCLKDivider = RCC_SYSCLK_DIV1;
  RCC_ClkInitStruct.APB1CLKDivider = RCC_HCLK_DIV2;
  RCC_ClkInitStruct.APB2CLKDivider = RCC_HCLK_DIV1;

  if (HAL_RCC_ClockConfig(&RCC_ClkInitStruct, FLASH_LATENCY_3) != HAL_OK)
  {
    Error_Handler();
  }
  PeriphClkInitStruct.PeriphClockSelection = RCC_PERIPHCLK_USART3|RCC_PERIPHCLK_CLK48;
  PeriphClkInitStruct.Usart3ClockSelection = RCC_USART3CLKSOURCE_PCLK1;
  PeriphClkInitStruct.Clk48ClockSelection = RCC_CLK48SOURCE_PLL;
  if (HAL_RCCEx_PeriphCLKConfig(&PeriphClkInitStruct) != HAL_OK)
  {
    Error_Handler();
  }
}

/* USER CODE BEGIN 4 */

void HAL_TIM_PeriodElapsedCallback(TIM_HandleTypeDef *htim) // ogolna funkcja obslugi przerwań
{

	if(htim->Instance == TIM3) //sprawdzenie czy przerwanie pochodzi od timera 3
	{

		odmierzanie_czasu_testu();

	    if(start==1||start==3)
	    {
	    	transmisja_danych();
	    }

		    if(start==1||start==4||start==5)
		    {
		    HAL_GPIO_TogglePin(GPIOB, LD2_Pin); // zmiana stanu diody led na płytce
		    }

			if((start == 1 && pwm < nastawa )||(start == 4 && pwm < nastawa )||(start == 5 && pwm < nastawa ))   //warunek na zwiekszanie wypelnienia w pwm w teście automatycznym
			{
			pwm+=rampa;

			}

			if(czas == czas_testu-10) // wyłączenie silnika chwile przed końcem
			{
		    pwm = 550;

			}

	}
	if(htim->Instance == TIM4) //sprawdzenie czy przerwanie pochodzi od timera 2
	{

		  if(wyslij==1)
		  {

			  if(t<(ilosc_danych+1))
			  {
				  odbior_danych();
				  pojedynczy_fft_osx = bufor_wyjsciowy_osx_mag[t];
				  pojedynczy_fft_osy = bufor_wyjsciowy_osy_mag[t];
				  pojedynczy_fft_osz = bufor_wyjsciowy_osz_mag[t];
				  pojedynczy_fft_prad = bufor_wyjsciowy_pradu_mag[t];
				  pojedynczy_fft_napiecie = bufor_wyjsciowy_napiecia_mag[t];
				  sprintf(wiadomosc, "%0.6f %0.6f %0.6f %0.6f %0.6f %d %d        ",pojedynczy_fft_osx, pojedynczy_fft_osy, pojedynczy_fft_osz, pojedynczy_fft_napiecie, pojedynczy_fft_prad, t,ilosc_probek);
				  serverUDPSendString(wiadomosc);
				  t++;
			  }
			  if(t==ilosc_danych)
			  {
				  t=1;
				  wyslij=0;
				  wykonywanie_fft=1;
			  }
		  }

		  if(wyslij_dane==1)
		  {

			  if(t<513)
			  {
				  odbior_danych();
				  prad1 = bufor_pradu[t];
				  napiecie1 = bufor_napiecia[t];
				  ax1=bufor_ax[t];
				  ay1=bufor_ay[t];
				  az1=bufor_az[t];
				  rpm1=bufor_rpm[t];
				  ciag1=bufor_ciag[t];
				  temp1=bufor_temp[t];
				  czas1=bufor_czasu[t];

				  sprintf(wiadomosc, "%0.3f %0.3f %d %0.3f %d %0.3f %0.3f %0.3f %d %d    ",prad1,napiecie1,rpm1,temp1,ciag1,ax1,ay1,az1,czas1,t);
				  serverUDPSendString(wiadomosc);
				  t++;
			  }
			  if(t==512)
			  {
				  t=0;
				  wyslij_dane=0;

			  }
		  }

		  if(wyslij_dane==2)
		  {

			  if(t<513)
			  {
				  odbior_danych();
				  prad2 = bufor_pradu1[t];
				  napiecie2 = bufor_napiecia1[t];
				  ax2=bufor_ax1[t];
				  ay2=bufor_ay1[t];
				  az2=bufor_az1[t];
				  rpm2=bufor_rpm1[t];
				  ciag2=bufor_ciag1[t];
				  temp2=bufor_temp1[t];
				  czas2=bufor_czasu1[t];

				  sprintf(wiadomosc, "%0.3f %0.3f %d %0.3f %d %0.3f %0.3f %0.3f %d %d    ",prad2,napiecie2,rpm2,temp2,ciag2,ax2,ay2,az2,czas2,t);
				  serverUDPSendString(wiadomosc);
				  t++;
			  }
			  if(t==512)
			  {
				  t=0;
				  wyslij_dane=0;
			  }
		  }

	}

	if(licznik_samplowania==4)
	{

	if(htim->Instance == TIM14) //sprawdzenie czy przerwanie pochodzi od timera 14
	{

		probkowanie();

	}
    }

	if(licznik_samplowania==6)
	{

	if(htim->Instance == TIM13) //sprawdzenie czy przerwanie pochodzi od timera 13
	{

		probkowanie();

	}
	}

	if(licznik_samplowania==8)
	{

	if(htim->Instance == TIM6) //sprawdzenie czy przerwanie pochodzi od timera 6
	{

		probkowanie();

	}
	}

	if(licznik_samplowania==12)
	{

	if(htim->Instance == TIM5) //sprawdzenie czy przerwanie pochodzi od timera 5
	{

		probkowanie();

	}
    }

}

/* USER CODE END 4 */

void Error_Handler(void)
{
}

/************************ (C) COPYRIGHT STMicroelectronics *****END OF FILE****/
